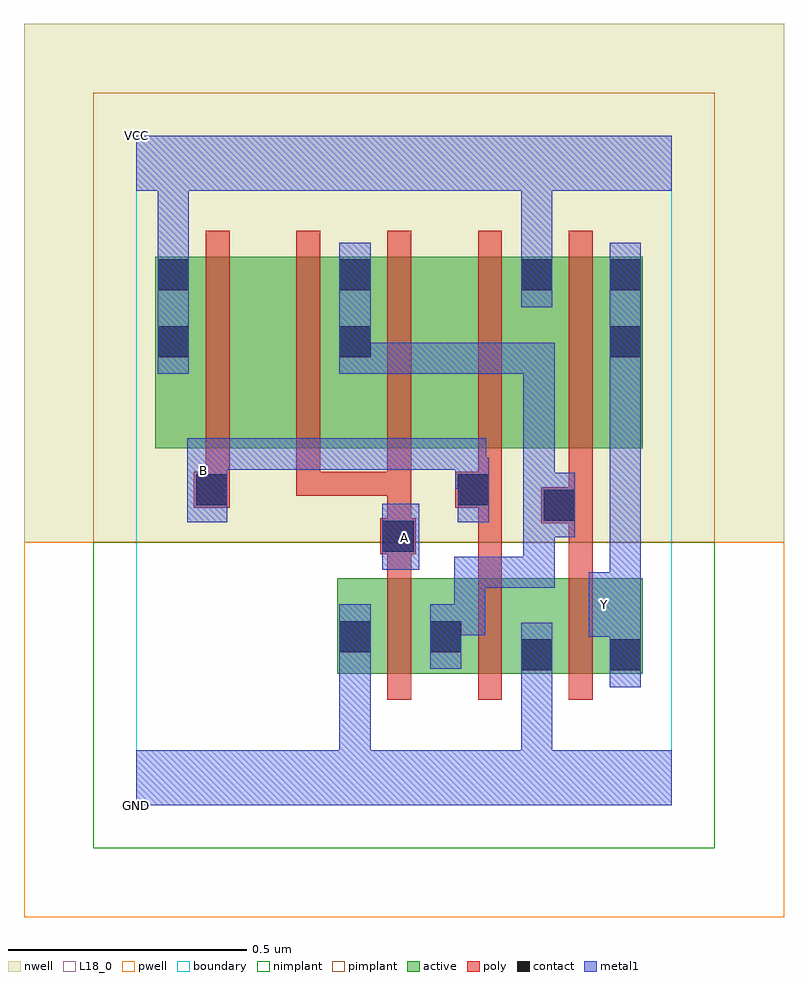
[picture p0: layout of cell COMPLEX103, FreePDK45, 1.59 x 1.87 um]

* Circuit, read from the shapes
.subckt COMPLEX103 A B GND VCC Y
M1 n1 A GND VSUBS nfet w=0.2u l=0.05u
M2 GND B n1 VSUBS nfet w=0.2u l=0.05u
M3 Y n1 GND VSUBS nfet w=0.2u l=0.05u
M4 n2 B VCC n3 pfet w=0.4u l=0.05u
M5 n1 A n2 n3 pfet w=0.4u l=0.05u
M6 n4 A n1 n3 pfet w=0.4u l=0.05u
M7 VCC B n4 n3 pfet w=0.4u l=0.05u
M8 Y n1 VCC n3 pfet w=0.4u l=0.05u
.ends

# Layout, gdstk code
import gdstk
lib = gdstk.Library(unit=1e-6, precision=1e-09)
def R(c, l, rs):  # rectangles x0, y0, x1, y1
    for r in rs: c.add(gdstk.rectangle(r[:2], r[2:], *l))
def A(c, l, x, y, w, h, nx, ny, dx, dy):  # array of equal rectangles
    R(c, l, [(x+i*dx, y+j*dy, x+i*dx+w, y+j*dy+h) for i in range(nx) for j in range(ny)])
active = (1, 0)
pwell = (2, 0)
nwell = (3, 0)
nimplant = (4, 0)
pimplant = (5, 0)
poly = (9, 0)
contact = (10, 0)
metal1 = (11, 0)
L18_0 = (18, 0)
boundary = (235, 0)

complex103 = lib.new_cell('COMPLEX103')
R(complex103, active, [(0.42,0.275,0.685,0.475), (0.61,0.275,0.875,0.475), (0.8,0.275,1.06,0.475), (0.8,0.275,0.875,0.475), (0.985,0.277,1.06,0.475), (0.42,0.295,0.495,0.475), (0.61,0.295,0.685,0.475), (0.04,0.747,0.115,1.147), (0.04,0.747,0.265,1.147), (0.265,0.747,0.495,1.147), (0.42,0.747,0.645,1.147), (0.645,0.747,0.875,1.147), (0.8,0.747,1.06,1.147), (0.985,0.747,1.06,1.147), (0.42,0.907,0.495,1.147), (0.8,0.907,0.875,1.147)])
R(complex103, pwell, [(-0.235,-0.235,1.355,0.55)])
R(complex103, nwell, [(-0.235,0.55,1.355,1.635)])
R(complex103, nimplant, [(-0.09,-0.09,1.21,0.55)])
R(complex103, pimplant, [(-0.09,0.55,1.21,1.49)])
A(complex103, poly, 0.525, 0.22, 0.05, 0.31, 3, 1, 0.19, 0)
A(complex103, poly, 0.145, 0.647, 0.05, 0.095, 4, 1, 0.19, 0)
A(complex103, poly, 0.145, 0.692, 0.05, 0.51, 5, 1, 0.19, 0)
R(complex103, poly, [(0.525,0.48,0.575,0.575), (0.715,0.48,0.765,0.672), (0.905,0.48,0.955,0.64), (0.51,0.525,0.585,0.6), (0.525,0.55,0.575,0.697), (0.847,0.59,0.955,0.665), (0.905,0.59,0.955,0.64), (0.905,0.59,0.955,0.64), (0.905,0.615,0.955,0.742), (0.12,0.622,0.195,0.697), (0.667,0.622,0.765,0.697), (0.715,0.622,0.765,0.672), (0.715,0.622,0.765,0.672), (0.335,0.647,0.385,0.697), (0.335,0.647,0.385,0.697), (0.335,0.647,0.385,0.697), (0.335,0.647,0.575,0.697), (0.525,0.647,0.575,0.697)])
A(complex103, contact, 0.045, 1.077, 0.065, 0.065, 3, 1, 0.38, 0)
R(complex103, contact, [(0.805,0.282,0.87,0.347), (0.99,0.282,1.055,0.347), (0.425,0.32,0.49,0.385), (0.615,0.32,0.68,0.385), (0.515,0.53,0.58,0.595), (0.852,0.595,0.917,0.66), (0.125,0.627,0.19,0.692), (0.672,0.627,0.737,0.692), (0.045,0.937,0.11,1.002), (0.425,0.937,0.49,1.002), (0.99,0.937,1.055,1.002), (0.99,1.077,1.055,1.142)])
R(complex103, metal1, [(0,0,1.12,0.115), (0.425,0.05,0.49,0.35), (0.805,0.05,0.87,0.115), (0.805,0.05,0.87,0.115), (0.805,0.05,0.87,0.312), (0.805,0.247,0.87,0.382), (0.99,0.247,1.055,0.382), (0.425,0.285,0.49,0.35), (0.425,0.285,0.49,0.35), (0.425,0.285,0.49,0.42), (0.615,0.285,0.68,0.42), (0.99,0.317,1.055,0.417), (0.947,0.352,1.055,0.487), (0.615,0.355,0.73,0.42), (0.665,0.355,0.73,0.52), (0.99,0.422,1.055,0.967), (0.99,0.422,1.055,0.487), (0.99,0.422,1.055,0.487), (0.665,0.455,0.875,0.52), (0.81,0.455,0.875,0.52), (0.81,0.455,0.875,0.695), (0.515,0.492,0.592,0.63), (0.852,0.56,0.917,0.695), (0.107,0.592,0.19,0.767), (0.672,0.592,0.737,0.727), (0.81,0.63,0.875,0.695), (0.81,0.63,0.875,0.695), (0.81,0.63,0.875,0.695), (0.81,0.63,0.917,0.695), (0.81,0.63,0.875,0.967), (0.667,0.662,0.737,0.727), (0.667,0.662,0.732,0.767), (0.125,0.702,0.352,0.767), (0.287,0.702,0.352,0.767), (0.287,0.702,0.352,0.767), (0.287,0.702,0.352,0.767), (0.287,0.702,0.542,0.767), (0.477,0.702,0.542,0.767), (0.477,0.702,0.542,0.767), (0.477,0.702,0.542,0.767), (0.477,0.702,0.732,0.767), (0.045,0.902,0.11,1.177), (0.425,0.902,0.49,1.177), (0.425,0.902,0.49,0.967), (0.425,0.902,0.49,0.967), (0.425,0.902,0.732,0.967), (0.667,0.902,0.732,0.967), (0.667,0.902,0.732,0.967), (0.667,0.902,0.732,0.967), (0.667,0.902,0.875,0.967), (0.81,0.902,0.875,0.967), (0.99,0.902,1.055,1.177), (0.805,1.042,0.87,1.177), (0.045,1.112,0.11,1.177), (0.045,1.112,0.11,1.177), (0.045,1.112,0.11,1.35), (0.805,1.112,0.87,1.35), (0,1.285,1.12,1.4), (0.805,1.285,0.87,1.35), (0.805,1.285,0.87,1.35)])
R(complex103, L18_0, [(0,0,1.12,0.115), (0.425,0.05,0.49,0.35), (0.805,0.05,0.87,0.115), (0.805,0.05,0.87,0.115), (0.805,0.05,0.87,0.312), (0.805,0.247,0.87,0.382), (0.99,0.247,1.055,0.382), (0.425,0.285,0.49,0.35), (0.425,0.285,0.49,0.35), (0.425,0.285,0.49,0.42), (0.99,0.317,1.055,0.417), (0.947,0.352,1.055,0.487), (0.947,0.387,1.012,0.452), (0.99,0.422,1.055,0.487), (0.99,0.422,1.055,0.487), (0.99,0.422,1.055,0.967), (0.515,0.492,0.592,0.63), (0.527,0.527,0.592,0.592), (0.107,0.592,0.19,0.767), (0.672,0.592,0.737,0.727), (0.667,0.662,0.732,0.767), (0.667,0.662,0.737,0.727), (0.107,0.667,0.172,0.732), (0.125,0.702,0.352,0.767), (0.287,0.702,0.352,0.767), (0.287,0.702,0.352,0.767), (0.287,0.702,0.352,0.767), (0.287,0.702,0.542,0.767), (0.477,0.702,0.542,0.767), (0.477,0.702,0.542,0.767), (0.477,0.702,0.542,0.767), (0.477,0.702,0.732,0.767), (0.045,0.902,0.11,1.177), (0.99,0.902,1.055,1.177), (0.805,1.042,0.87,1.177), (0.045,1.112,0.11,1.177), (0.045,1.112,0.11,1.177), (0.045,1.112,0.11,1.35), (0.805,1.112,0.87,1.35), (0,1.285,1.12,1.4), (0.805,1.285,0.87,1.35), (0.805,1.285,0.87,1.35)])
R(complex103, boundary, [(0,0,1.12,1.4)])
complex103.add(gdstk.Label('A', (0.56,0.56), layer=11, texttype=0))
complex103.add(gdstk.Label('B', (0.14,0.7), layer=11, texttype=0))
complex103.add(gdstk.Label('Y', (0.98,0.42), layer=11, texttype=0))
complex103.add(gdstk.Label('VCC', (0,1.4), layer=11, texttype=0))
complex103.add(gdstk.Label('GND', (0,0), layer=11, texttype=0))

lib.write_gds('COMPLEX103.gds')
